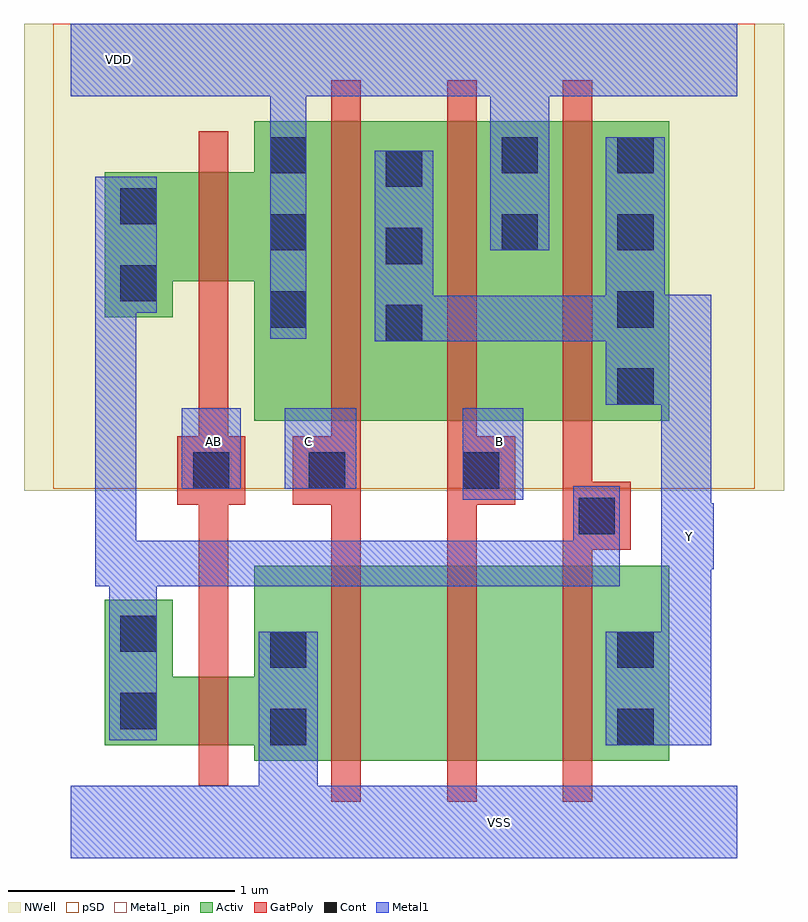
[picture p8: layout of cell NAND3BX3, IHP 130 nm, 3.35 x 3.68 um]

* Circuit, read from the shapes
.subckt NAND3BX3 AB B C VDD VSS Y
XM1 VSS AB n1 VSUBS sg13_lv_nmos w=0.3u l=0.13u
XM2 n2 C VSS VSUBS sg13_lv_nmos w=0.86u l=0.13u
XM3 n3 B n2 VSUBS sg13_lv_nmos w=0.86u l=0.13u
XM4 Y n1 n3 VSUBS sg13_lv_nmos w=0.86u l=0.13u
XM5 VDD AB n1 n4 sg13_lv_pmos w=0.48u l=0.13u
XM6 Y C VDD n4 sg13_lv_pmos w=1.32u l=0.13u
XM7 VDD B Y n4 sg13_lv_pmos w=1.32u l=0.13u
XM8 Y n1 VDD n4 sg13_lv_pmos w=1.32u l=0.13u
.ends

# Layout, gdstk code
import gdstk
lib = gdstk.Library(unit=1e-6, precision=1e-09)
def R(c, l, rs):  # rectangles x0, y0, x1, y1
    for r in rs: c.add(gdstk.rectangle(r[:2], r[2:], *l))
def A(c, l, x, y, w, h, nx, ny, dx, dy):  # array of equal rectangles
    R(c, l, [(x+i*dx, y+j*dy, x+i*dx+w, y+j*dy+h) for i in range(nx) for j in range(ny)])
def P(c, l, *ps):  # polygons
    for p in ps: c.add(gdstk.Polygon(p, *l))
Activ = (1, 0)
GatPoly = (5, 0)
Cont = (6, 0)
Metal1 = (8, 0)
Metal1_pin = (8, 2)
pSD = (14, 0)
NWell = (31, 0)

nand3bx3 = lib.new_cell('NAND3BX3')
P(nand3bx3, Activ, [(0.81,0.27),(0.81,0.34),(0.15,0.34),(0.15,0.98),(0.45,0.98),(0.45,0.64),(0.81,0.64),(0.81,1.13),(2.64,1.13),(2.64,0.27)],
  [(0.81,1.77),(0.81,2.385),(0.45,2.385),(0.45,2.225),(0.15,2.225),(0.15,2.865),(0.81,2.865),(0.81,3.09),(2.64,3.09),(2.64,1.77)])
P(nand3bx3, GatPoly, [(2.17,0.09),(2.17,3.27),(2.3,3.27),(2.3,1.5),(2.47,1.5),(2.47,1.2),(2.3,1.2),(2.3,0.09)],
  [(1.66,0.09),(1.66,3.27),(1.79,3.27),(1.79,1.7),(1.96,1.7),(1.96,1.4),(1.79,1.4),(1.79,0.09)],
  [(1.15,0.09),(1.15,1.4),(0.98,1.4),(0.98,1.7),(1.15,1.7),(1.15,3.27),(1.28,3.27),(1.28,0.09)],
  [(0.565,0.16),(0.565,1.4),(0.47,1.4),(0.47,1.7),(0.565,1.7),(0.565,3.045),(0.695,3.045),(0.695,1.7),(0.77,1.7),(0.77,1.4),(0.695,1.4),(0.695,0.16)])
A(nand3bx3, Cont, 2.41, 1.84, 0.16, 0.16, 1, 4, 0, 0.34)
A(nand3bx3, Cont, 1.39, 2.12, 0.16, 0.16, 1, 3, 0, 0.34)
A(nand3bx3, Cont, 0.88, 2.18, 0.16, 0.16, 1, 3, 0, 0.34)
R(nand3bx3, Cont, [(0.88,0.34,1.04,0.5), (2.41,0.34,2.57,0.5), (0.22,0.41,0.38,0.57), (0.88,0.68,1.04,0.84), (2.41,0.68,2.57,0.84), (0.22,0.75,0.38,0.91), (2.24,1.27,2.4,1.43), (0.54,1.47,0.7,1.63), (1.05,1.47,1.21,1.63), (1.73,1.47,1.89,1.63), (0.22,2.295,0.38,2.455), (1.9,2.52,2.06,2.68), (0.22,2.635,0.38,2.795), (1.9,2.86,2.06,3.02)])
R(nand3bx3, Metal1, [(1.73,1.42,1.995,1.825), (0.49,1.47,0.75,1.825), (0.945,1.47,1.26,1.825)])
P(nand3bx3, Metal1, [(0,-0.16),(0,0.16),(0.83,0.16),(0.83,0.84),(1.09,0.84),(1.09,0.16),(2.94,0.16),(2.94,-0.16)],
  [(0.88,2.13),(0.88,3.2),(0,3.2),(0,3.52),(2.94,3.52),(2.94,3.2),(2.11,3.2),(2.11,2.52),(1.85,2.52),(1.85,3.2),(1.04,3.2),(1.04,2.13)],
  [(2.36,0.34),(2.36,0.84),(2.605,0.84),(2.605,1.84),(2.36,1.84),(2.36,2.12),(1.34,2.12),(1.34,2.96),(1.6,2.96),(1.6,2.32),(2.36,2.32),(2.36,3.02),(2.62,3.02),(2.62,2.325),(2.825,2.325),(2.825,1.405),(2.835,1.405),(2.835,1.115),(2.825,1.115),(2.825,0.34)],
  [(0.17,0.36),(0.17,1.04),(0.11,1.04),(0.11,2.845),(0.38,2.845),(0.38,2.245),(0.29,2.245),(0.29,1.24),(2.215,1.24),(2.215,1.48),(2.42,1.48),(2.42,1.04),(0.38,1.04),(0.38,0.36)])
R(nand3bx3, Metal1_pin, [(1.73,1.42,1.995,1.825), (0.49,1.47,0.75,1.825), (0.945,1.47,1.26,1.825)])
P(nand3bx3, Metal1_pin, [(0,-0.16),(0,0.16),(0.83,0.16),(0.83,0.84),(1.09,0.84),(1.09,0.16),(2.94,0.16),(2.94,-0.16)],
  [(0.88,2.13),(0.88,3.2),(0,3.2),(0,3.52),(2.94,3.52),(2.94,3.2),(2.11,3.2),(2.11,2.52),(1.85,2.52),(1.85,3.2),(1.04,3.2),(1.04,2.13)],
  [(2.36,0.34),(2.36,0.84),(2.605,0.84),(2.605,1.84),(2.36,1.84),(2.36,2.12),(1.34,2.12),(1.34,2.96),(1.6,2.96),(1.6,2.32),(2.36,2.32),(2.36,3.02),(2.62,3.02),(2.62,2.325),(2.825,2.325),(2.825,1.405),(2.835,1.405),(2.835,1.115),(2.825,1.115),(2.825,0.34)])
R(nand3bx3, pSD, [(-0.075,1.47,3.015,3.52)])
R(nand3bx3, NWell, [(-0.205,1.46,3.145,3.52)])
nand3bx3.add(gdstk.Label('VSS', (1.89,0), layer=8, texttype=25))
nand3bx3.add(gdstk.Label('VDD', (0.21,3.36), layer=8, texttype=25))
nand3bx3.add(gdstk.Label('Y', (2.73,1.26), layer=8, texttype=25))
nand3bx3.add(gdstk.Label('B', (1.89,1.68), layer=8, texttype=25))
nand3bx3.add(gdstk.Label('C', (1.05,1.68), layer=8, texttype=25))
nand3bx3.add(gdstk.Label('AB', (0.63,1.68), layer=8, texttype=25))

lib.write_gds('NAND3BX3.gds')
